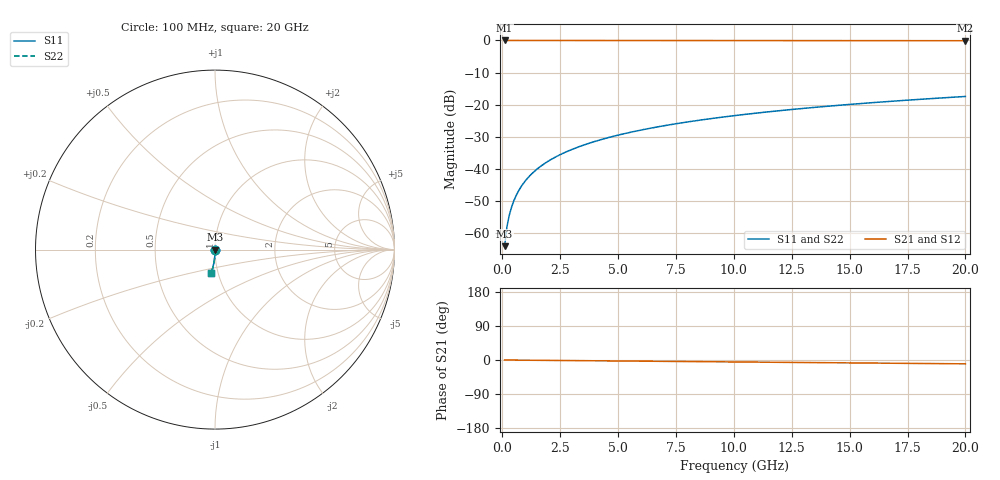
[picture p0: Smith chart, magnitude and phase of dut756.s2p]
! Touchstone file exported from HFSS 2026.1.0
!  File:  C:/ffzhzh/LocalFiles/Ansys_Project_Files/temp_train_TSV_756_1783183141_43440.aedt
!  Generated:  12:40:19 AM Jul  5, 2026
!  Design:  TSV
!  Project:  temp_train_TSV_756_1783183141_43440
! Variables:
!  h_bsmrdl = 2um
!  h_ox = 20um
!  h_rdl = 5um
!  h_sub = 70.16um
!  h_tmrdl = 5um
!  h_tsv = 70.16um
!  h_via = 3um
!  l_bsmrdl = 300um
!  l_sub = 429.6um
!  l_tmrdl = 200um
!  m_sub = 200um
!  pitch = 33um
!  r_tsv = 14.8um
!  s_tmrdl = 10um
!  w_bsmrdl = 18um
!  w_sub = 500um
!  w_tmrdl = 12um
!  x_tsv_center1 = 206um
!  x_tsv_center2 = 524um
!  x_tsv_center3 = 736um
!  x_tsv_center4 = 1054um
!  x_tsv_center5 = 1266um
!  x_tsv_center6 = 1584um
# GHz S MA R 50.000000
! Terminal data exported
! Port[1] = TSV1_1_T1
! Port[2] = TSV1_1_T2
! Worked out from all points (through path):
!   200 points, 100 MHz to 20 GHz, reference 50 ohm
!   highest |S21| = 0.00 dB at 100 MHz (marker M1); lowest = -0.1 dB at 20 GHz (marker M2)
!   group delay of S21, straight-line fit = 1.41 ps
!   lowest |S11| = -64.0 dB at 100 MHz (marker M3), VSWR 1.00, Z = 50 - j0.0623 ohm
!   |S11| at or under -10 dB: start of sweep to end of sweep
!   |S22| runs from -64.0 to -17.4 dB; largest |S21 - S12| = 2.1e-15
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0.1  0.0006281 -82.5  0.9999 -0.1  0.9999 -0.1  0.0006281 -82.5
! Gamma 0 0 0 0
! Port Impedance 50 0 50 0
0.2  0.001256 -85.4  0.9999 -0.1  0.9999 -0.1  0.001256 -85.4
0.3  0.001895 -86.2  0.9999 -0.2  0.9999 -0.2  0.001895 -86.2
0.4  0.002545 -86.5  0.9998 -0.2  0.9998 -0.2  0.002545 -86.5
0.5  0.003204 -86.8  0.9998 -0.3  0.9998 -0.3  0.003204 -86.8
0.7  0.00454 -87.2  0.9997 -0.4  0.9997 -0.4  0.00454 -87.2
0.8  0.005213 -87.4  0.9997 -0.4  0.9997 -0.4  0.005213 -87.4
1  0.006563 -87.8  0.9997 -0.5  0.9997 -0.5  0.006563 -87.8
1.2  0.007915 -88.2  0.9996 -0.6  0.9996 -0.6  0.007915 -88.2
1.4  0.009267 -88.5  0.9996 -0.7  0.9996 -0.7  0.009267 -88.5
1.7  0.01129 -88.9  0.9995 -0.9  0.9995 -0.9  0.01129 -88.9
2  0.01332 -89.2  0.9995 -1.0  0.9995 -1.0  0.01332 -89.2
2.7  0.01805 -89.9  0.9994 -1.4  0.9994 -1.4  0.01805 -89.9
3.5  0.02345 -90.5  0.9992 -1.8  0.9992 -1.8  0.02345 -90.5
4.2  0.02818 -91.0  0.999 -2.2  0.999 -2.2  0.02818 -91.0
5  0.0336 -91.5  0.9988 -2.6  0.9988 -2.6  0.0336 -91.5
6.8  0.04579 -92.5  0.9982 -3.5  0.9982 -3.5  0.04579 -92.5
8.3  0.05595 -93.4  0.9976 -4.2  0.9976 -4.2  0.05595 -93.4
10.1  0.06811 -94.4  0.9967 -5.2  0.9967 -5.2  0.06811 -94.4
13.4  0.09033 -96.1  0.9948 -6.8  0.9948 -6.8  0.09033 -96.1
16.7  0.1124 -97.9  0.9924 -8.5  0.9924 -8.5  0.1124 -97.9
20  0.1343 -99.6  0.9896 -10.1  0.9896 -10.1  0.1343 -99.6
